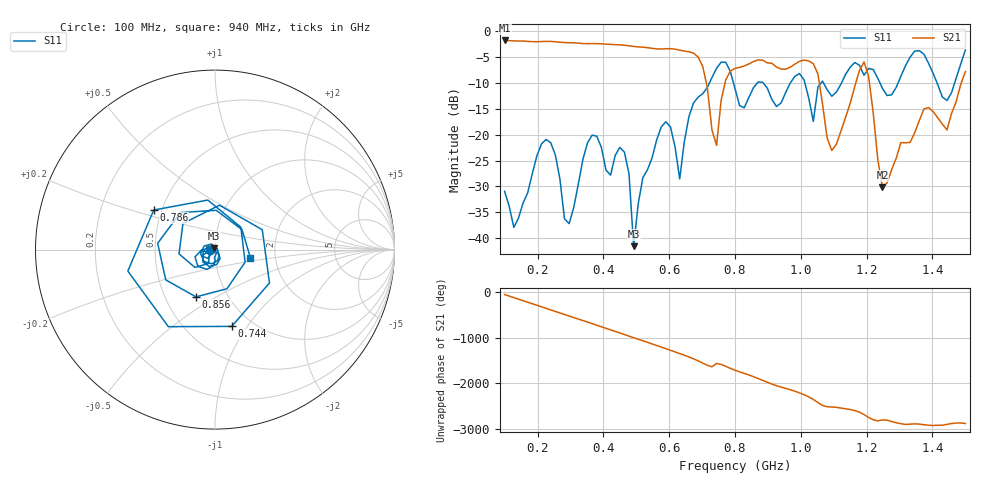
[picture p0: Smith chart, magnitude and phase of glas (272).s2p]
! NanoVNA-App
! Date: 2025-09-25 15:57:35
! Start: 100MHz Stop: 1,5GHz Points: 101
! S-Parameter data: F S11 S21 S12 S22
# Hz S RI R 50
!  Frequency  S11_Real  S11_Imag  S21_Real  S21_Imag  S12_Real  S12_Imag  S22_Real  S22_Imag
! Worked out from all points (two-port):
!   101 points, 100 MHz to 1.5 GHz, reference 50 ohm
!   highest |S21| = -1.80 dB at 100 MHz (marker M1); lowest = -30.1 dB at 1.248 GHz (marker M2)
!   |S21| within 3 dB of the highest: start of sweep to 684.1 MHz
!   lowest |S11| = -41.5 dB at 492 MHz (marker M3), VSWR 1.02, Z = 49.5 + j0.632 ohm
!   |S11| at or under -10 dB: start of sweep to 722.5 MHz; 795.3 MHz to 867.9 MHz (72.62 MHz wide, 8.73 % of centre); 885.7 MHz to 968.1 MHz (82.32 MHz wide, 8.88 % of centre) (the widest 3 of 7)
!   S12 and S22 are empty: the file has one direction only
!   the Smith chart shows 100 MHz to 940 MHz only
!   S11 on the Smith chart (normalised r, x): 100 MHz: 0.95, -0.01; 744 MHz: 0.80, -0.85; 786 MHz: 0.45, +0.24; 856 MHz: 0.71, -0.41; 940 MHz: 1.48, -0.14
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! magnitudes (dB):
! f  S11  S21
! 100 MHz  -30.9  -1.8
! 128 MHz  -37.9  -1.9
! 226 MHz  -20.9  -2.0
! 296 MHz  -37.2  -2.2
! 338 MHz  -24.7  -2.4
! 464 MHz  -23.4  -2.7
! 492 MHz  -41.5  -3.0
! 576 MHz  -18.5  -3.5
! 632 MHz  -28.6  -3.7
! 702 MHz  -12.1  -6.8
! 744 MHz  -7.2  -22.1
! 786 MHz  -7.8  -7.7
! 800 MHz  -11.1  -7.2
! 856 MHz  -10.9  -5.9
! 940 MHz  -13.9  -7.3
! 996 MHz  -8.2  -5.8
! 1.038 GHz  -17.4  -6.3
! 1.094 GHz  -12.6  -23.1
! 1.192 GHz  -8.5  -5.9
! 1.248 GHz  -11.1  -30.1
! 1.276 GHz  -12.3  -26.7
! 1.5 GHz  -3.6  -7.8
